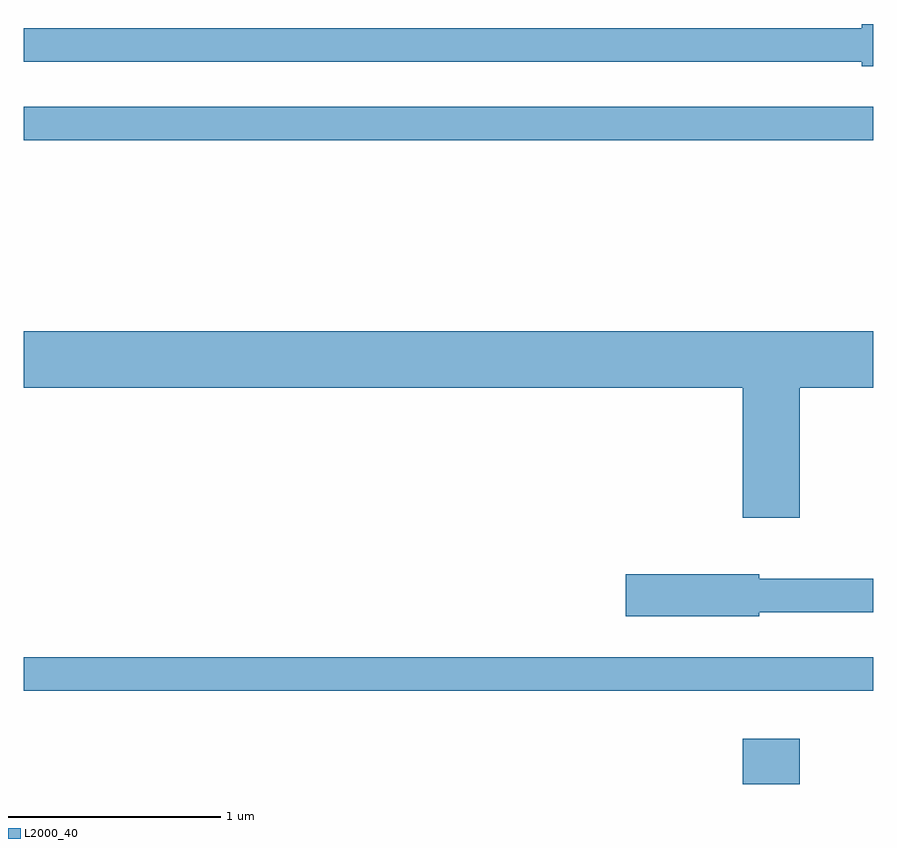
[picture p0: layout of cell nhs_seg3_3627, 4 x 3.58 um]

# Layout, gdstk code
import gdstk
lib = gdstk.Library(unit=1e-6, precision=1e-09)
def R(c, l, rs):  # rectangles x0, y0, x1, y1
    for r in rs: c.add(gdstk.rectangle(r[:2], r[2:], *l))
def P(c, l, *ps):  # polygons
    for p in ps: c.add(gdstk.Polygon(p, *l))
L2000_40 = (2000, 40)

nhs_seg3_3627 = lib.new_cell('nhs_seg3_3627')
R(nhs_seg3_3627, L2000_40, [(294.996,1161.892,295.264,1162.104), (291.611,1162.331,295.611,1162.489), (291.611,1164.921,295.611,1165.079)])
P(nhs_seg3_3627, L2000_40, [(295.611,1165.469),(295.556,1165.469),(295.556,1165.449),(291.611,1165.449),(291.611,1165.291),(295.556,1165.291),(295.556,1165.271),(295.611,1165.271)],
  [(295.264,1163.756),(295.611,1163.756),(295.611,1164.024),(291.611,1164.024),(291.611,1163.756),(294.996,1163.756),(294.996,1163.146),(295.264,1163.146)],
  [(295.074,1162.701),(295.611,1162.701),(295.611,1162.859),(295.074,1162.859),(295.074,1162.879),(294.446,1162.879),(294.446,1162.681),(295.074,1162.681)])

lib.write_gds('nhs_seg3_3627.gds')
